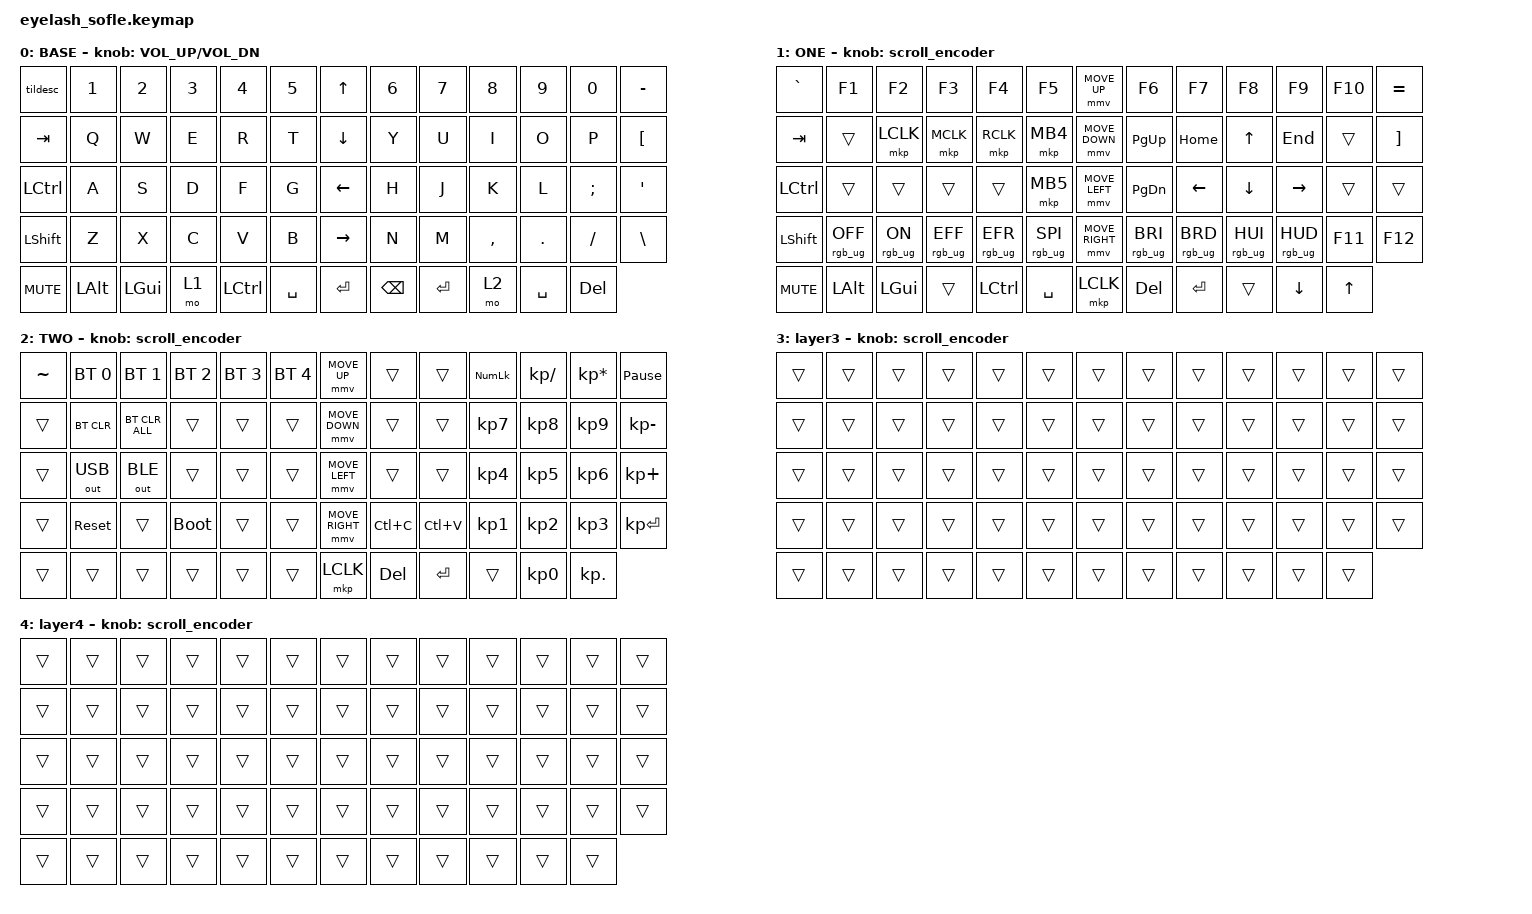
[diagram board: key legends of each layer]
#define ZMK_POINTING_DEFAULT_MOVE_VAL 1200  // 600
#define ZMK_POINTING_DEFAULT_SCRL_VAL 25   // 10

#include <input/processors.dtsi>
#include <zephyr/dt-bindings/input/input-event-codes.h>
#include <behaviors.dtsi>
#include <dt-bindings/zmk/bt.h>
#include <dt-bindings/zmk/keys.h>
#include <dt-bindings/zmk/outputs.h>
#include <dt-bindings/zmk/pointing.h>
#include <dt-bindings/zmk/rgb.h>

&mmv_input_listener { input-processors = <&zip_xy_scaler 2 1>; };

&msc_input_listener { input-processors = <&zip_scroll_scaler 2 1>; };

&msc {
    acceleration-exponent = <1>;      // 0
    time-to-max-speed-ms = <100>;       // 300
    delay-ms = <0>;                   // 0
};

&mmv {
    time-to-max-speed-ms = <500>;
    acceleration-exponent = <1>;
    trigger-period-ms = <16>;
};

&soft_off { hold-time-ms = <2000>; };

/ {
    scroll_encoder: scroll_encoder {
        compatible = "zmk,behavior-sensor-rotate";
        #sensor-binding-cells = <0>;
        bindings = <&msc SCRL_DOWN>, <&msc SCRL_UP>;

        tap-ms = <100>;
    };

    behaviors {
    };

    combos {
        compatible = "zmk,combos";

        //softoff {
        //    bindings = <&soft_off>;
        //    key-positions = <14 28 40>;
        //};
		combo_equal {
            timeout-ms = <50>;
            key-positions = <11 12>;
            bindings = <&kp EQUAL>;
        };
		combo_rbracket {
            timeout-ms = <50>;
            key-positions = <24 25>;
            bindings = <&kp RIGHT_BRACKET>;
        };
    };
	
	behaviors {
        //td0: tap_dance_0 {
        //    compatible = "zmk,behavior-tap-dance";
        //    #binding-cells = <0>;
        //    tapping-term-ms = <140>;
        //    bindings = <&kp LEFT_BRACKET>, <&kp RIGHT_BRACKET>;
        //};
		//td1: tap_dance_1 {
        //    compatible = "zmk,behavior-tap-dance";
        //    #binding-cells = <0>;
        //    tapping-term-ms = <140>;
        //    bindings = <&kp MINUS>, <&kp EQUAL>;
        //};
		tildesc: tilde_escape {
            compatible = "zmk,behavior-mod-morph";
            #binding-cells = <0>;
            bindings = <&kp ESC>, <&kp TILDE>;
            mods = <(MOD_LSFT|MOD_RSFT)>;
        };
    };

    keymap {
        compatible = "zmk,keymap";

        layer0 {
            bindings = <
&tildesc    &kp N1        &kp N2        &kp N3    &kp N4     &kp N5       &kp UP_ARROW     &kp N6         &kp N7     &kp N8     &kp N9           &kp N0      &kp MINUS
&kp TAB     &kp Q         &kp W         &kp E     &kp R      &kp T        &kp DOWN_ARROW   &kp Y          &kp U      &kp I      &kp O            &kp P       &kp LEFT_BRACKET
&kp LCTRL   &kp A         &kp S         &kp D     &kp F      &kp G        &kp LEFT_ARROW   &kp H          &kp J      &kp K      &kp L            &kp SEMI    &kp APOS
&kp LSHFT   &kp Z         &kp X         &kp C     &kp V      &kp B        &kp RIGHT_ARROW  &kp N          &kp M      &kp COMMA  &kp DOT          &kp FSLH    &kp BSLH
&kp C_MUTE  &kp LEFT_ALT  &kp LEFT_GUI  &mo 1     &kp LCTRL  &kp SPACE    &kp ENTER        &kp BACKSPACE  &kp ENTER  &mo 2      &kp SPACE        &kp DELETE
            >;

            sensor-bindings = <&inc_dec_kp C_VOLUME_UP C_VOL_DN>;
            display-name = "BASE";
        };

        layer_1 {
            bindings = <
&kp GRAVE   &kp F1           &kp F2          &kp F3           &kp F4           &kp F5             &mmv MOVE_UP     &kp F6           &kp F7           &kp F8          &kp F9          &kp F10        &kp EQUAL
&kp TAB     &trans           &mkp LCLK       &mkp MCLK        &mkp RCLK        &mkp MB4           &mmv MOVE_DOWN   &kp PG_UP        &kp HOME         &kp UP          &kp END         &trans         &kp RIGHT_BRACKET
&kp LCTRL   &trans           &trans          &trans           &trans           &mkp MB5           &mmv MOVE_LEFT   &kp PG_DN        &kp LEFT         &kp DOWN        &kp RIGHT       &trans         &trans
&kp LSHFT   &rgb_ug RGB_OFF  &rgb_ug RGB_ON  &rgb_ug RGB_EFF  &rgb_ug RGB_EFR  &rgb_ug RGB_SPI    &mmv MOVE_RIGHT  &rgb_ug RGB_BRI  &rgb_ug RGB_BRD  &rgb_ug RGB_HUI &rgb_ug RGB_HUD &kp F11        &kp F12
&kp C_MUTE  &kp LEFT_ALT     &kp LEFT_GUI    &trans           &kp LCTRL        &kp SPACE          &mkp LCLK        &kp DELETE       &kp ENTER        &trans          &kp DOWN_ARROW  &kp UP_ARROW
            >;

            sensor-bindings = <&scroll_encoder>;
            display-name = "ONE";
        };

        layer_2 {
            bindings = <
&kp TILDE        &bt BT_SEL 0  &bt BT_SEL 1    &bt BT_SEL 2  &bt BT_SEL 3  &bt BT_SEL 4    &mmv MOVE_UP     &trans      &trans        &kp KP_NLCK   &kp KP_SLASH   &kp KP_MULTIPLY  &kp PAUSE_BREAK
&trans           &bt BT_CLR    &bt BT_CLR_ALL  &trans        &trans        &trans          &mmv MOVE_DOWN   &trans      &trans        &kp KP_N7     &kp KP_N8      &kp KP_N9        &kp KP_MINUS
&trans           &out OUT_USB  &out OUT_BLE    &trans        &trans        &trans          &mmv MOVE_LEFT   &trans      &trans        &kp KP_N4     &kp KP_N5      &kp KP_N6        &kp KP_PLUS
&trans           &sys_reset    &trans          &bootloader   &trans        &trans          &mmv MOVE_RIGHT  &kp LC(C)   &kp LC(V)     &kp KP_N1     &kp KP_N2      &kp KP_N3        &kp KP_ENTER
&trans           &trans        &trans          &trans        &trans        &trans          &mkp LCLK        &kp DELETE  &kp ENTER     &trans        &kp KP_N0      &kp KP_DOT
            >;

            sensor-bindings = <&scroll_encoder>;
            display-name = "TWO";
        };

        layer_3 {
            bindings = <
&trans  &trans  &trans  &trans  &trans  &trans    &trans  &trans  &trans  &trans  &trans  &trans  &trans
&trans  &trans  &trans  &trans  &trans  &trans    &trans  &trans  &trans  &trans  &trans  &trans  &trans
&trans  &trans  &trans  &trans  &trans  &trans    &trans  &trans  &trans  &trans  &trans  &trans  &trans
&trans  &trans  &trans  &trans  &trans  &trans    &trans  &trans  &trans  &trans  &trans  &trans  &trans
&trans  &trans  &trans  &trans  &trans  &trans    &trans  &trans  &trans  &trans  &trans  &trans
            >;

            display-name = "layer3";
            sensor-bindings = <&scroll_encoder>;
        };

        layer_4 {
            bindings = <
&trans  &trans  &trans  &trans  &trans  &trans    &trans  &trans  &trans  &trans  &trans  &trans  &trans
&trans  &trans  &trans  &trans  &trans  &trans    &trans  &trans  &trans  &trans  &trans  &trans  &trans
&trans  &trans  &trans  &trans  &trans  &trans    &trans  &trans  &trans  &trans  &trans  &trans  &trans
&trans  &trans  &trans  &trans  &trans  &trans    &trans  &trans  &trans  &trans  &trans  &trans  &trans
&trans  &trans  &trans  &trans  &trans  &trans    &trans  &trans  &trans  &trans  &trans  &trans
            >;
         display-name = "layer4";
            sensor-bindings = <&scroll_encoder>;
        };
    };
};
